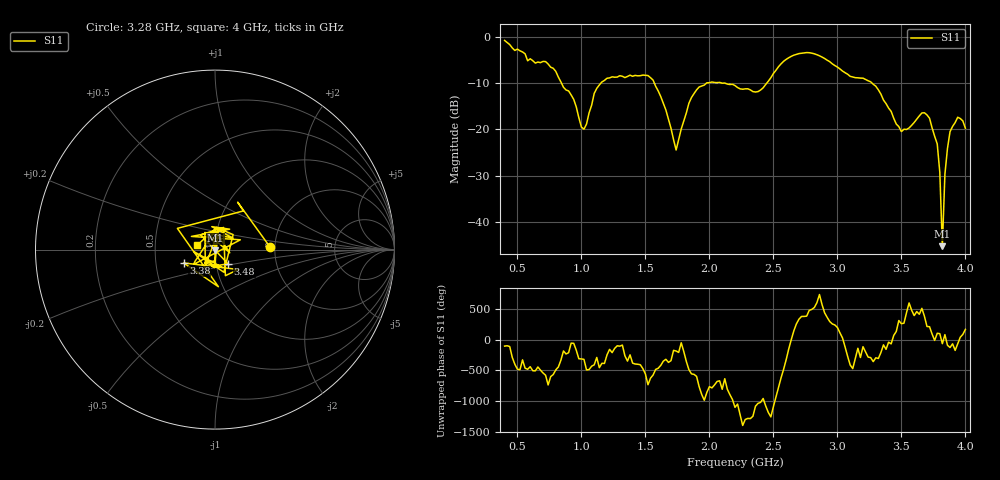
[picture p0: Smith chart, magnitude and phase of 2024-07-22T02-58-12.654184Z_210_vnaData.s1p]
!Created with skrf (http://scikit-rf.org).
# Hz S RI R 50.0
!freq ReS11 ImS11
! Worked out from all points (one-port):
!   181 points, 400 MHz to 4 GHz, reference 50 ohm
!   lowest |S11| = -45.3 dB at 3.82 GHz (marker M1), VSWR 1.01, Z = 50.2 - j0.497 ohm
!   |S11| at or under -10 dB: 1.57 GHz to 1.977 GHz (407.1 MHz wide, 23 % of centre); 2.122 GHz to 2.448 GHz (325.9 MHz wide, 14.3 % of centre); 3.271 GHz to end of sweep (the widest 3 of 5)
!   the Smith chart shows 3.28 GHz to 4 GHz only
!   S11 on the Smith chart (normalised r, x): 3.28 GHz: 1.89, +0.06; 3.38 GHz: 0.70, -0.11; 3.48 GHz: 1.14, -0.18; 4 GHz: 0.82, +0.04
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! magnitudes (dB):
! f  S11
! 400 MHz  -0.8
! 720 MHz  -5.3
! 860 MHz  -10.9
! 1.02 GHz  -20.0
! 1.12 GHz  -11.1
! 1.3 GHz  -8.4
! 1.56 GHz  -9.3
! 1.74 GHz  -24.5
! 1.76 GHz  -22.2
! 1.84 GHz  -14.3
! 1.92 GHz  -10.8
! 2.2 GHz  -10.5
! 2.38 GHz  -11.8
! 2.66 GHz  -3.9
! 2.84 GHz  -3.9
! 3.1 GHz  -8.5
! 3.28 GHz  -10.2
! 3.38 GHz  -14.4
! 3.48 GHz  -19.4
! 3.56 GHz  -19.7
! 3.68 GHz  -16.4
! 3.78 GHz  -23.1
! 3.8 GHz  -29.2
! 3.82 GHz  -45.3
! 3.84 GHz  -29.7
! 3.88 GHz  -20.5
! 3.94 GHz  -17.4
! 4 GHz  -19.8
